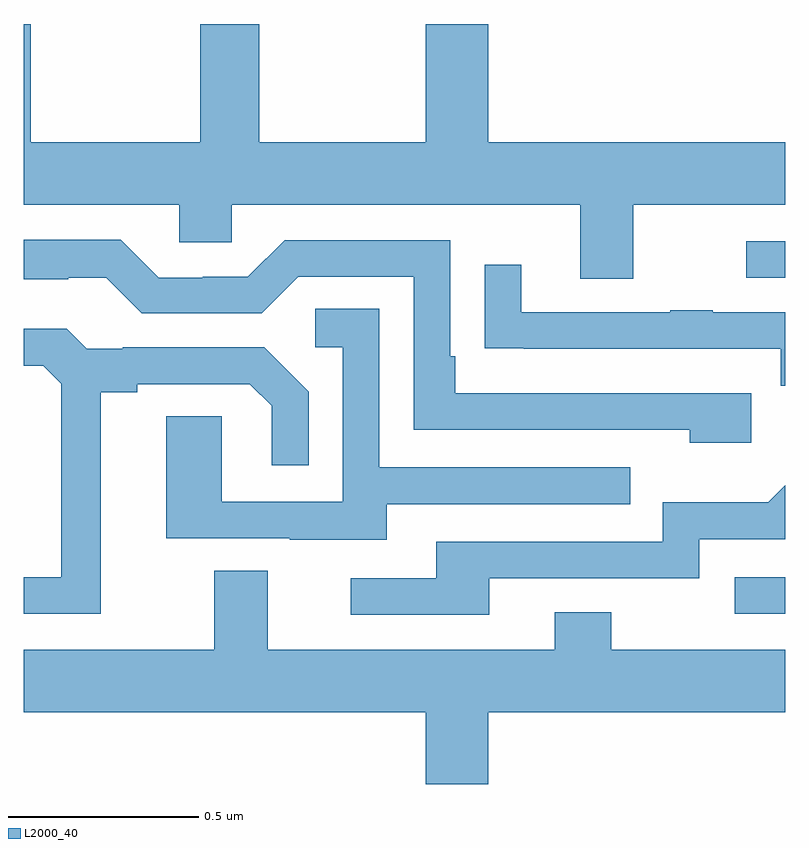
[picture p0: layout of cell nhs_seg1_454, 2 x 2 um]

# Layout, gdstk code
import gdstk
lib = gdstk.Library(unit=1e-6, precision=1e-09)
def R(c, l, rs):  # rectangles x0, y0, x1, y1
    for r in rs: c.add(gdstk.rectangle(r[:2], r[2:], *l))
def P(c, l, *ps):  # polygons
    for p in ps: c.add(gdstk.Polygon(p, *l))
L2000_40 = (2000, 40)

nhs_seg1_454 = lib.new_cell('nhs_seg1_454')
R(nhs_seg1_454, L2000_40, [(117.867,558.651,118,558.747), (117.897,559.533,118,559.629)])
P(nhs_seg1_454, L2000_40, [(117.601,559.724),(118,559.724),(118,559.888),(117.22,559.888),(117.22,560.199),(117.056,560.199),(117.056,559.888),(116.619,559.888),(116.619,560.199),(116.464,560.199),(116.464,559.888),(116.019,559.888),(116.019,560.199),(116,560.199),(116,559.724),(116.409,559.724),(116.409,559.626),(116.547,559.626),(116.547,559.724),(117.461,559.724),(117.461,559.53),(117.601,559.53)],
  [(117.91,559.23),(117.133,559.23),(117.133,559.327),(117.12,559.327),(117.12,559.632),(116.685,559.632),(116.589,559.536),(116.471,559.536),(116.471,559.533),(116.355,559.533),(116.255,559.633),(116,559.633),(116,559.529),(116.117,559.529),(116.117,559.533),(116.217,559.533),(116.31,559.44),(116.625,559.44),(116.721,559.536),(117.024,559.536),(117.024,559.134),(117.749,559.134),(117.749,559.1),(117.91,559.1)],
  [(118,559.443),(117.809,559.443),(117.809,559.448),(117.697,559.448),(117.697,559.443),(117.307,559.443),(117.307,559.567),(117.211,559.567),(117.211,559.348),(117.313,559.348),(117.313,559.347),(117.988,559.347),(117.988,559.25),(118,559.25)],
  [(116.953,558.939),(117.593,558.939),(117.593,559.035),(116.934,559.035),(116.934,559.451),(116.766,559.451),(116.766,559.35),(116.838,559.35),(116.838,558.945),(116.52,558.945),(116.52,559.169),(116.375,559.169),(116.375,558.849),(116.699,558.849),(116.699,558.845),(116.953,558.845)],
  [(116.203,559.232),(116.299,559.232),(116.299,559.254),(116.594,559.254),(116.651,559.197),(116.651,559.041),(116.748,559.041),(116.748,559.234),(116.632,559.35),(116.26,559.35),(116.26,559.347),(116.166,559.347),(116.114,559.399),(116,559.399),(116,559.302),(116.052,559.302),(116.099,559.255),(116.099,558.747),(116,558.747),(116,558.651),(116.203,558.651)],
  [(117.223,558.744),(117.774,558.744),(117.774,558.846),(118,558.846),(118,558.988),(117.955,558.943),(117.678,558.943),(117.678,558.84),(117.083,558.84),(117.083,558.744),(116.859,558.744),(116.859,558.648),(117.223,558.648)],
  [(117.22,558.392),(118,558.392),(118,558.556),(117.543,558.556),(117.543,558.655),(117.395,558.655),(117.395,558.556),(116.641,558.556),(116.641,558.764),(116.501,558.764),(116.501,558.556),(116,558.556),(116,558.392),(117.056,558.392),(117.056,558.204),(117.22,558.204)])

lib.write_gds('nhs_seg1_454.gds')
